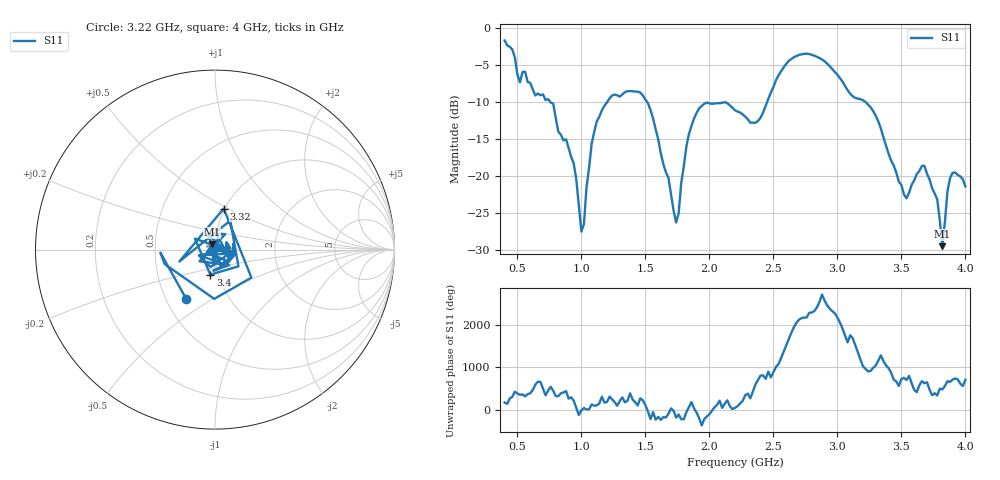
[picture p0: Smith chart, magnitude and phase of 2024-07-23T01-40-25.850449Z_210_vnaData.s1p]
!Created with skrf (http://scikit-rf.org).
# Hz S RI R 50.0
!freq ReS11 ImS11
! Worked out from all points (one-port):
!   181 points, 400 MHz to 4 GHz, reference 50 ohm
!   lowest |S11| = -29.5 dB at 3.82 GHz (marker M1), VSWR 1.07, Z = 48.2 + j2.8 ohm
!   |S11| at or under -10 dB: 757.7 MHz to 1.201 GHz (443.6 MHz wide, 45.3 % of centre); 1.514 GHz to 2.45 GHz (936 MHz wide, 47.2 % of centre); 3.221 GHz to end of sweep
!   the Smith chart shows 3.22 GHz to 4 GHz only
!   S11 on the Smith chart (normalised r, x): 3.22 GHz: 0.63, -0.38; 3.32 GHz: 0.99, +0.48; 3.4 GHz: 0.91, -0.26; 4 GHz: 1.18, -0.05
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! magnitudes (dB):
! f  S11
! 400 MHz  -1.7
! 520 MHz  -7.3
! 780 MHz  -10.2
! 860 MHz  -15.2
! 940 MHz  -18.3
! 1 GHz  -27.5
! 1.08 GHz  -15.6
! 1.12 GHz  -12.6
! 1.3 GHz  -9.3
! 1.52 GHz  -10.1
! 1.74 GHz  -26.3
! 1.76 GHz  -25.0
! 1.82 GHz  -16.0
! 1.9 GHz  -11.5
! 2.2 GHz  -11.1
! 2.38 GHz  -12.5
! 2.66 GHz  -3.9
! 2.88 GHz  -4.2
! 3.1 GHz  -8.9
! 3.22 GHz  -10.0
! 3.32 GHz  -12.6
! 3.4 GHz  -17.0
! 3.56 GHz  -22.2
! 3.68 GHz  -18.6
! 3.78 GHz  -23.1
! 3.82 GHz  -29.5
! 3.88 GHz  -20.3
! 4 GHz  -21.4
